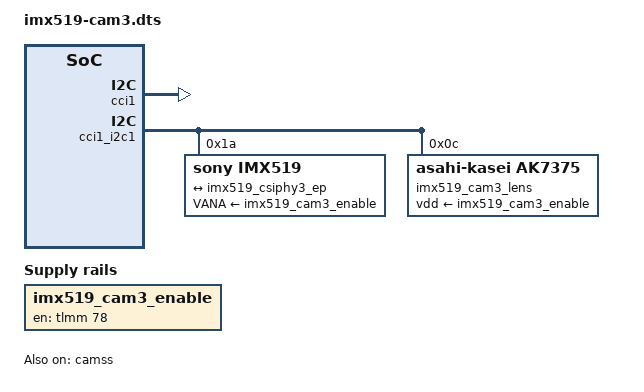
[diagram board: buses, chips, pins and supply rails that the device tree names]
// SPDX-License-Identifier: GPL-2.0-only
// Copyright (c) 2025 Radxa Computer (Shenzhen) Co., Ltd.
// Adapted for IMX519 on Q6A CAM3, 2026-10-11.
// CAM3 routing follows Radxa's Q6A IMX219 overlay (BSD-3-Clause).
// This initial configuration assumes the module has a 24 MHz oscillator
// and local sensor voltage regulators. It does not drive an SoC MCLK pin.
// VANA models the module enable; VDIG/VDDL use kernel dummy supplies.
// AK7375 and lens-focus follow the Raspberry Pi IMX519 module reference.
// The physical module, oscillator and autofocus are not yet verified.
/dts-v1/;
/plugin/;

/ {
    metadata {
        title = "Enable IMX519 camera on CAM3";
        compatible = "radxa,dragon-q6a";
        category = "camera";
        exclusive = "cci1_i2c1";
        description = "IMX519 RAW10, 2 lanes, module oscillator 24 MHz.";
    };
};

&{/} {
    imx519_cam3_clock: imx519-cam3-clock {
        compatible = "fixed-clock";
        #clock-cells = <0>;
        clock-frequency = <24000000>;
        clock-output-names = "imx519_cam3_extclk";
    };

    imx519_cam3_enable: imx519-cam3-enable {
        compatible = "regulator-fixed";
        regulator-name = "imx519_cam3_enable";
        regulator-always-on;
        enable-active-high;
        gpios = <&tlmm 78 0>;
        pinctrl-names = "default";
        pinctrl-0 = <&imx519_cam3_enable_pins>;
    };
};

&{/reserved-memory} {
    linux,cma {
        compatible = "shared-dma-pool";
        size = <0x0 0x8000000>;
        reusable;
        linux,cma-default;
    };
};

&camss {
    vdda-phy-supply = <&vreg_l10c_0p88>;
    vdda-pll-supply = <&vreg_l6b_1p2>;
    status = "okay";
    ports {
        #address-cells = <1>;
        #size-cells = <0>;
        port@3 {
            reg = <3>;
            imx519_csiphy3_ep: endpoint {
                clock-lanes = <7>;
                data-lanes = <0 1>;
                remote-endpoint = <&imx519_cam3_ep>;
            };
        };
    };
};

&cci1 { status = "okay"; };

&cci1_i2c1 {
    #address-cells = <1>;
    #size-cells = <0>;
    status = "okay";
    imx519@1a {
        compatible = "sony,imx519";
        reg = <0x1a>;
        clocks = <&imx519_cam3_clock>;
        clock-names = "xclk";
        lens-focus = <&imx519_cam3_lens>;
        rotation = <0>;
        orientation = <2>;
        VANA-supply = <&imx519_cam3_enable>;
        port {
            imx519_cam3_ep: endpoint {
                clock-lanes = <0>;
                data-lanes = <1 2>;
                clock-noncontinuous;
                link-frequencies = /bits/ 64 <408000000>;
                remote-endpoint = <&imx519_csiphy3_ep>;
            };
        };
    };
    imx519_cam3_lens: ak7375@c {
        compatible = "asahi-kasei,ak7375";
        reg = <0x0c>;
        vdd-supply = <&imx519_cam3_enable>;
    };
};

&tlmm {
    imx519_cam3_enable_pins: imx519-cam3-enable-state {
        pins = "gpio78";
        function = "gpio";
        drive-strength = <2>;
        bias-pull-up;
    };
};
